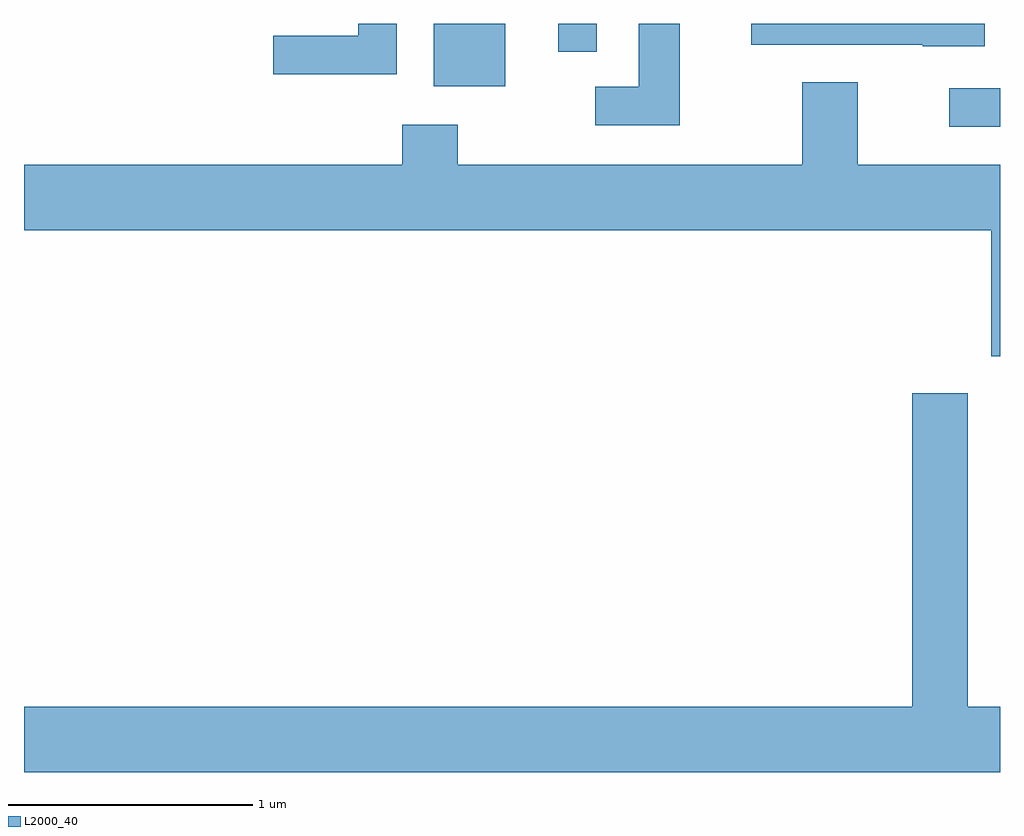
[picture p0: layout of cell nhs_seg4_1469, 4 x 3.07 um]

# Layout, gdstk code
import gdstk
lib = gdstk.Library(unit=1e-6, precision=1e-09)
def R(c, l, rs):  # rectangles x0, y0, x1, y1
    for r in rs: c.add(gdstk.rectangle(r[:2], r[2:], *l))
def P(c, l, *ps):  # polygons
    for p in ps: c.add(gdstk.Polygon(p, *l))
L2000_40 = (2000, 40)

nhs_seg4_1469 = lib.new_cell('nhs_seg4_1469')
R(nhs_seg4_1469, L2000_40, [(231.403,1339.561,231.611,1339.719), (229.291,1339.726,229.584,1339.982), (229.801,1339.868,229.959,1339.982)])
P(nhs_seg4_1469, L2000_40, [(230.299,1339.982),(230.131,1339.982),(230.131,1339.724),(229.953,1339.724),(229.953,1339.566),(230.299,1339.566)],
  [(229.139,1339.982),(228.981,1339.982),(228.981,1339.934),(228.633,1339.934),(228.633,1339.776),(229.139,1339.776)],
  [(231.549,1339.982),(230.591,1339.982),(230.591,1339.896),(231.295,1339.896),(231.295,1339.891),(231.549,1339.891)],
  [(231.611,1339.404),(231.029,1339.404),(231.029,1339.744),(230.801,1339.744),(230.801,1339.404),(229.389,1339.404),(229.389,1339.569),(229.161,1339.569),(229.161,1339.404),(227.611,1339.404),(227.611,1339.136),(231.576,1339.136),(231.576,1338.621),(231.611,1338.621)],
  [(231.611,1337.184),(231.479,1337.184),(231.479,1338.469),(231.251,1338.469),(231.251,1337.184),(227.611,1337.184),(227.611,1336.916),(231.611,1336.916)])

lib.write_gds('nhs_seg4_1469.gds')
